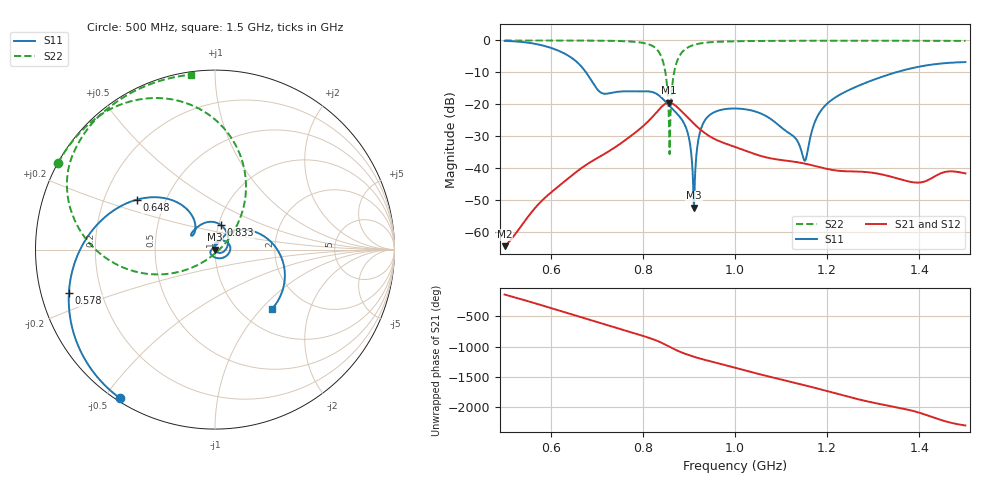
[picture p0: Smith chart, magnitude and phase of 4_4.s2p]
! TOUCHSTONE file generated by CST MICROWAVE STUDIO
! Date and time: Fri Oct  2 16:54:06 2020
! Project name: Scenario_1_Free_Space_out_of_line.cst
! Parameters = {Lambda=346.42; Step_1=17.321; dy1=295.617; dx1=693; L_HA=400; MT=2.54; Rad_Dielectric=30; Rad_Lower=7.3; Rad_Upper=30; a_HA=580; a_WG=246; b_HA=500; b_WG=121; c_HA=0; c_WG=187; d_feed=85; h_feed=15; h_lower=18; h_upper=40}
! Header version: 2018
! Port assignment regex: !\s*Touchstone port\s*([0-9]+)\s*=\s*(CST MWS port|CST DS port)\s*([0-9]+|Zmin|Zmax)\s*\(\"(.*)\"\)(\s*mode\s*([0-9]+))?.*
! Touchstone port assignment:
! Touchstone port 1 = CST MWS port 1 ("")
! Touchstone port 2 = CST MWS port 2 ("")
# GHz S DB R 50
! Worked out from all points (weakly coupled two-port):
!   1003 points, 500 MHz to 1.5 GHz, reference 50 ohm
!   highest |S21| = -19.48 dB at 857 MHz (marker M1); lowest = -64.4 dB at 500 MHz (marker M2)
!   lowest |S11| = -52.4 dB at 911 MHz (marker M3), VSWR 1.00, Z = 49.8 - j0.0647 ohm
!   |S11| at or under -10 dB: 676.6 MHz to 1.349 GHz (672.4 MHz wide, 66.4 % of centre)
!   |S22| runs from -35.6 to 0.0 dB; largest |S21 - S12| = 3e-05
!   S11 on the Smith chart (normalised r, x): 500 MHz: 0.01, -0.55; 578 MHz: 0.08, -0.14; 648 MHz: 0.34, +0.26; 833 MHz: 1.03, +0.29; 1.5 GHz: 1.38, -1.15
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0.5  -0.15 -122.5  -64.40 -139.0  -64.40 -139.0  -0.01 151.2
0.578  -1.42 -163.5  -50.59 49.5  -50.59 49.5  -0.01 145.8
0.648  -5.72 147.5  -42.03 -110.0  -42.03 -110.0  -0.03 140.1
0.667  -8.24 133.1  -39.94 -154.6  -39.94 -154.6  -0.04 138.3
0.712  -16.54 139.2  -35.92 101.1  -35.92 101.1  -0.09 133.3
0.789  -15.97 128.9  -28.22 -74.3  -28.22 -74.3  -0.54 117.4
0.833  -17.02 76.8  -21.98 169.9  -21.98 169.9  -3.24 86.7
0.834  -17.13 75.2  -21.82 166.7  -21.82 166.7  -3.44 85.4
0.847  -18.84 55.0  -20.00 121.0  -20.00 121.0  -8.51 62.7
0.857  -20.34 40.6  -19.48 81.4  -19.48 81.4  -27.58 21.3
0.875  -23.06 14.2  -20.93 13.9  -20.93 13.9  -6.23 -166.6
0.897  -28.75 -29.8  -24.10 -51.8  -24.10 -51.8  -2.25 170.7
0.911  -52.37 -164.3  -26.10 -87.1  -26.10 -87.1  -1.39 162.5
0.922  -29.98 91.2  -27.55 -112.1  -27.55 -112.1  -1.00 157.7
0.934  -25.16 64.5  -28.94 -137.3  -28.94 -137.3  -0.73 153.5
1  -21.30 8.2  -33.32 92.1  -33.32 92.1  -0.27 140.3
1.079  -24.73 -56.2  -36.95 -63.7  -36.95 -63.7  -0.14 131.7
1.151  -37.65 137.6  -38.54 162.5  -38.54 162.5  -0.10 125.5
1.167  -28.30 65.4  -39.06 131.9  -39.06 131.9  -0.10 124.2
1.21  -18.60 52.0  -40.51 45.9  -40.51 45.9  -0.09 120.9
1.334  -10.66 12.9  -42.47 -176.8  -42.47 -176.8  -0.09 111.5
1.5  -6.78 -45.9  -41.62 -141.8  -41.64 -141.8  -0.14 97.9
